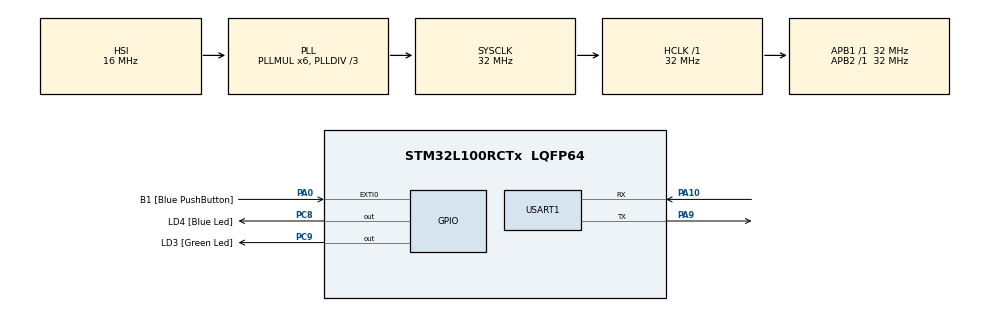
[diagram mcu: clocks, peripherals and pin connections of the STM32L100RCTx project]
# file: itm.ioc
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FREERTOS.Tasks01=defaultTask,24,128,StartDefaultTask,Default,NULL,Static,defaultTaskBuffer,defaultTaskControlBlock;itmTask,8,128,StartItmTask,Default,NULL,Static,itmTaskBuffer,itmTaskControlBlock
Mcu.Family=STM32L1
Mcu.Name=STM32L100RCTx
Mcu.Package=LQFP64
NVIC.PriorityGroup=NVIC_PRIORITYGROUP_4
NVIC.TIM2_IRQn=true\:0\:0\:false\:false\:true\:false\:false\:true
NVIC.TimeBase=TIM2_IRQn
NVIC.TimeBaseIP=TIM2
PA0-WKUP1.GPIO_Label=B1 [Blue PushButton]
PA0-WKUP1.GPIO_ModeDefaultEXTI=GPIO_MODE_EVT_RISING
PA0-WKUP1.Signal=GPXTI0
PA10.Mode=Asynchronous
PA10.Signal=USART1_RX
PA13.GPIO_Label=SWDIO
PA13.Mode=Trace_Asynchronous_SW
PA13.Signal=SYS_JTMS-SWDIO
PA14.GPIO_Label=SWCLK
PA14.Mode=Trace_Asynchronous_SW
PA14.Signal=SYS_JTCK-SWCLK
PA9.Mode=Asynchronous
PA9.Signal=USART1_TX
PB3.GPIO_Label=SWO
PB3.Mode=Trace_Asynchronous_SW
PB3.Signal=SYS_JTDO-TRACESWO
PC14-OSC32_IN.GPIO_Label=PC14-OSC32_IN
PC14-OSC32_IN.Signal=RCC_OSC32_IN
PC15-OSC32_OUT.GPIO_Label=PC15-OSC32_OUT
PC15-OSC32_OUT.Signal=RCC_OSC32_OUT
PC8.GPIO_Label=LD4 [Blue Led]
PC8.Signal=GPIO_Output
PC9.GPIO_Label=LD3 [Green Led]
PC9.Signal=GPIO_Output
PH0-OSC_IN.GPIO_Label=PH0-OSC_IN
PH0-OSC_IN.Mode=HSE-External-Clock-Source
PH0-OSC_IN.Signal=RCC_OSC_IN
PH1-OSC_OUT.GPIO_Label=PH1-OSC_OUT
PH1-OSC_OUT.Signal=RCC_OSC_OUT
ProjectManager.HeapSize=0x200
ProjectManager.StackSize=0x400
ProjectManager.TargetToolchain=STM32CubeIDE
RCC.48MHZClocksFreq_Value=48000000
RCC.AHBFreq_Value=32000000
RCC.APB1Freq_Value=32000000
RCC.APB1TimFreq_Value=32000000
RCC.APB2Freq_Value=32000000
RCC.APB2TimFreq_Value=32000000
RCC.HCLKFreq_Value=32000000
RCC.HSE_VALUE=8000000
RCC.HSI_VALUE=16000000
RCC.LSEState=RCC_LSE_ON
RCC.LSE_VALUE=32768
RCC.MSI_VALUE=2097000
RCC.PLLDIV=RCC_PLL_DIV3
RCC.PLLMUL=RCC_PLL_MUL6
RCC.RTCClockSelectionVirtual=RCC_RTCCLKSOURCE_LSE
RCC.SYSCLKFreq_VALUE=32000000
RCC.SYSCLKSource=RCC_SYSCLKSOURCE_PLLCLK
RCC.USBOutput=48000000
RCC.VCOOutputFreq_Value=96000000
USART1.VirtualMode=VM_ASYNC
VP_FREERTOS_VS_CMSIS_V2.Mode=CMSIS_V2
VP_SYS_VS_tim2.Mode=TIM2
board=STM32L100C-DISCO

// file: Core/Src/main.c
/* USER CODE BEGIN Header */
/**
 ******************************************************************************
 * @file           : main.c
 * @brief          : Main program body
 ******************************************************************************
 * @attention
 *
 * <h2><center>&copy; Copyright (c) 2020 STMicroelectronics.
 * All rights reserved.</center></h2>
 *
 * This software component is licensed by ST under BSD 3-Clause license,
 * the "License"; You may not use this file except in compliance with the
 * License. You may obtain a copy of the License at:
 *                        opensource.org/licenses/BSD-3-Clause
 *
 ******************************************************************************
 */
/* USER CODE END Header */

#include "main.h"
#include "cmsis_os.h"

/* USER CODE BEGIN Includes */
#include<stdio.h>
#include<string.h>
/* USER CODE END Includes */

typedef StaticTask_t osStaticThreadDef_t;

UART_HandleTypeDef huart1;

/* Definitions for defaultTask */
osThreadId_t defaultTaskHandle;
uint32_t defaultTaskBuffer[128];
osStaticThreadDef_t defaultTaskControlBlock;
const osThreadAttr_t defaultTask_attributes = { .name = "defaultTask",
		.stack_mem = &defaultTaskBuffer[0], .stack_size =
				sizeof(defaultTaskBuffer), .cb_mem = &defaultTaskControlBlock,
		.cb_size = sizeof(defaultTaskControlBlock), .priority =
				(osPriority_t) osPriorityNormal, };
/* Definitions for itmTask */
osThreadId_t itmTaskHandle;
uint32_t itmTaskBuffer[128];
osStaticThreadDef_t itmTaskControlBlock;
const osThreadAttr_t itmTask_attributes = { .name = "itmTask", .stack_mem =
		&itmTaskBuffer[0], .stack_size = sizeof(itmTaskBuffer), .cb_mem =
		&itmTaskControlBlock, .cb_size = sizeof(itmTaskControlBlock),
		.priority = (osPriority_t) osPriorityLow, };

void SystemClock_Config(void);
static void MX_GPIO_Init(void);
static void MX_USART1_UART_Init(void);
void StartDefaultTask(void *argument);
void StartItmTask(void *argument);

int main(void) {

	/* MCU Configuration--------------------------------------------------------*/

	/* Reset of all peripherals, Initializes the Flash interface and the Systick. */
	HAL_Init();

	/* Configure the system clock */
	SystemClock_Config();

	/* Initialize all configured peripherals */
	MX_GPIO_Init();
	MX_USART1_UART_Init();

	/* Init scheduler */
	osKernelInitialize();

	/* Create the thread(s) */
	/* creation of defaultTask */
	defaultTaskHandle = osThreadNew(StartDefaultTask, NULL,
			&defaultTask_attributes);

	/* creation of itmTask */
	itmTaskHandle = osThreadNew(StartItmTask, NULL, &itmTask_attributes);

	/* Start scheduler */
	osKernelStart();

	/* We should never get here as control is now taken by the scheduler */
	/* Infinite loop */
	while (1) {

	}
}

void SystemClock_Config(void) {
	RCC_OscInitTypeDef RCC_OscInitStruct = { 0 };
	RCC_ClkInitTypeDef RCC_ClkInitStruct = { 0 };

	/** Configure the main internal regulator output voltage
	 */
	__HAL_PWR_VOLTAGESCALING_CONFIG(PWR_REGULATOR_VOLTAGE_SCALE1);
	/** Initializes the CPU, AHB and APB busses clocks
	 */
	RCC_OscInitStruct.OscillatorType = RCC_OSCILLATORTYPE_HSI;
	RCC_OscInitStruct.HSIState = RCC_HSI_ON;
	RCC_OscInitStruct.HSICalibrationValue = RCC_HSICALIBRATION_DEFAULT;
	RCC_OscInitStruct.PLL.PLLState = RCC_PLL_ON;
	RCC_OscInitStruct.PLL.PLLSource = RCC_PLLSOURCE_HSI;
	RCC_OscInitStruct.PLL.PLLMUL = RCC_PLL_MUL6;
	RCC_OscInitStruct.PLL.PLLDIV = RCC_PLL_DIV3;
	if (HAL_RCC_OscConfig(&RCC_OscInitStruct) != HAL_OK) {
		Error_Handler();
	}
	/** Initializes the CPU, AHB and APB busses clocks
	 */
	RCC_ClkInitStruct.ClockType = RCC_CLOCKTYPE_HCLK | RCC_CLOCKTYPE_SYSCLK
			| RCC_CLOCKTYPE_PCLK1 | RCC_CLOCKTYPE_PCLK2;
	RCC_ClkInitStruct.SYSCLKSource = RCC_SYSCLKSOURCE_PLLCLK;
	RCC_ClkInitStruct.AHBCLKDivider = RCC_SYSCLK_DIV1;
	RCC_ClkInitStruct.APB1CLKDivider = RCC_HCLK_DIV1;
	RCC_ClkInitStruct.APB2CLKDivider = RCC_HCLK_DIV1;

	if (HAL_RCC_ClockConfig(&RCC_ClkInitStruct, FLASH_LATENCY_1) != HAL_OK) {
		Error_Handler();
	}
}

static void MX_USART1_UART_Init(void) {

	huart1.Instance = USART1;
	huart1.Init.BaudRate = 115200;
	huart1.Init.WordLength = UART_WORDLENGTH_8B;
	huart1.Init.StopBits = UART_STOPBITS_1;
	huart1.Init.Parity = UART_PARITY_NONE;
	huart1.Init.Mode = UART_MODE_TX_RX;
	huart1.Init.HwFlowCtl = UART_HWCONTROL_NONE;
	huart1.Init.OverSampling = UART_OVERSAMPLING_16;
	if (HAL_UART_Init(&huart1) != HAL_OK) {
		Error_Handler();
	}

}

static void MX_GPIO_Init(void) {
	GPIO_InitTypeDef GPIO_InitStruct = { 0 };

	/* GPIO Ports Clock Enable */
	__HAL_RCC_GPIOC_CLK_ENABLE();
	__HAL_RCC_GPIOH_CLK_ENABLE();
	__HAL_RCC_GPIOA_CLK_ENABLE();
	__HAL_RCC_GPIOB_CLK_ENABLE();

	/*Configure GPIO pin Output Level */
	HAL_GPIO_WritePin(GPIOC, LD4_Pin | LD3_Pin, GPIO_PIN_RESET);

	/*Configure GPIO pin : B1_Pin */
	GPIO_InitStruct.Pin = B1_Pin;
	GPIO_InitStruct.Mode = GPIO_MODE_EVT_RISING;
	GPIO_InitStruct.Pull = GPIO_NOPULL;
	HAL_GPIO_Init(B1_GPIO_Port, &GPIO_InitStruct);

	/*Configure GPIO pins : LD4_Pin LD3_Pin */
	GPIO_InitStruct.Pin = LD4_Pin | LD3_Pin;
	GPIO_InitStruct.Mode = GPIO_MODE_OUTPUT_PP;
	GPIO_InitStruct.Pull = GPIO_NOPULL;
	GPIO_InitStruct.Speed = GPIO_SPEED_FREQ_LOW;
	HAL_GPIO_Init(GPIOC, &GPIO_InitStruct);

}

/* USER CODE BEGIN 4 */
int __io_putchar(int ch) {
	uint8_t c = ch;
	if (HAL_UART_Transmit(&huart1, &c, 1, 100) != HAL_OK) {
		return -1;
	}
	return ch;
}

int _write(int file, char *ptr, int len) {
	if (HAL_UART_Transmit(&huart1, (uint8_t*) ptr, len, 100) != HAL_OK) {
		return -1;
	}
	return len;
}

int fputc(int ch, FILE *f) {
	uint8_t c = ch;
	if (HAL_UART_Transmit(&huart1, &c, 1, 100) != HAL_OK) {
		return -1;
	}
	return ch;
}

/* USER CODE END 4 */

void StartDefaultTask(void *argument) {
	/* USER CODE BEGIN 5 */
	/* Infinite loop */
	for (;;) {
		//		uint8_t buff[32];
		//		memset(buff, 0, sizeof(buff));
		//		int curByte = 0;
		//		while ((curByte < (sizeof(buff) - 1)) && (buff[curByte - 1] != '\n')) {
		//			HAL_UART_Receive(&huart1, &buff[curByte], 1, HAL_MAX_DELAY);
		//			++curByte;
		//		}
		//		buff[curByte] = 0;
		//		HAL_UART_Transmit(&huart1, buff, strnlen((char*) buff, sizeof(buff)),
		//				100);
		osDelay(100);
	}
	/* USER CODE END 5 */
}

void StartItmTask(void *argument) {
	/* USER CODE BEGIN StartItmTask */
	/* Infinite loop */
	for (;;) {
		ITM_SendChar('a');
		printf("hello\n");
		osDelay(1000);
	}
	/* USER CODE END StartItmTask */
}

void HAL_TIM_PeriodElapsedCallback(TIM_HandleTypeDef *htim) {
	if (htim->Instance == TIM2) {
		HAL_IncTick();
	}
}

void Error_Handler(void) {
}

/************************ (C) COPYRIGHT STMicroelectronics *****END OF FILE****/
